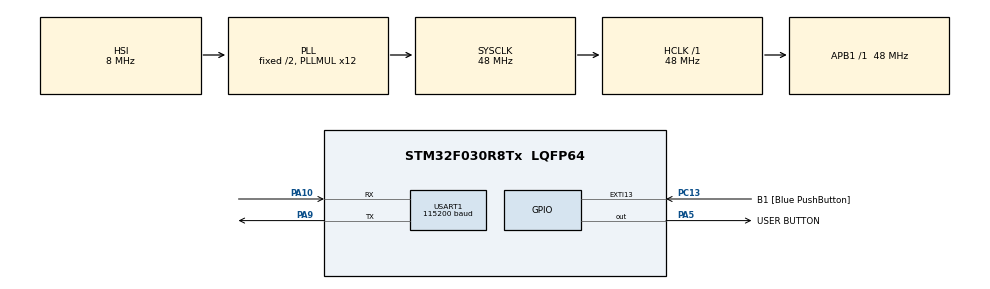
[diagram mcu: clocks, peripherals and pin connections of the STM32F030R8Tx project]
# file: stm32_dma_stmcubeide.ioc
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Dma.Request0=USART1_RX
Dma.Request1=USART1_TX
Dma.USART1_RX.0.Direction=DMA_PERIPH_TO_MEMORY
Dma.USART1_RX.0.Instance=DMA1_Channel3
Dma.USART1_RX.0.MemDataAlignment=DMA_MDATAALIGN_BYTE
Dma.USART1_RX.0.MemInc=DMA_MINC_ENABLE
Dma.USART1_RX.0.Mode=DMA_CIRCULAR
Dma.USART1_RX.0.PeriphDataAlignment=DMA_PDATAALIGN_BYTE
Dma.USART1_RX.0.PeriphInc=DMA_PINC_DISABLE
Dma.USART1_RX.0.Priority=DMA_PRIORITY_LOW
Dma.USART1_TX.1.Direction=DMA_MEMORY_TO_PERIPH
Dma.USART1_TX.1.Instance=DMA1_Channel2
Dma.USART1_TX.1.MemDataAlignment=DMA_MDATAALIGN_BYTE
Dma.USART1_TX.1.MemInc=DMA_MINC_ENABLE
Dma.USART1_TX.1.Mode=DMA_CIRCULAR
Dma.USART1_TX.1.PeriphDataAlignment=DMA_PDATAALIGN_BYTE
Dma.USART1_TX.1.PeriphInc=DMA_PINC_DISABLE
Dma.USART1_TX.1.Priority=DMA_PRIORITY_LOW
Mcu.Family=STM32F0
Mcu.Name=STM32F030R8Tx
Mcu.Package=LQFP64
NVIC.DMA1_Channel2_3_IRQn=true\:0\:0\:false\:false\:true\:false\:true\:true
NVIC.USART1_IRQn=true\:0\:0\:false\:false\:true\:true\:true\:true
PA10.Mode=Asynchronous
PA10.Signal=USART1_RX
PA13.GPIO_Label=TMS
PA13.Mode=Serial_Wire
PA13.Signal=SYS_SWDIO
PA14.GPIO_Label=TCK
PA14.Mode=Serial_Wire
PA14.Signal=SYS_SWCLK
PA5.GPIO_Label=USER BUTTON
PA5.Signal=GPIO_Output
PA9.Mode=Asynchronous
PA9.Signal=USART1_TX
PC13.GPIO_Label=B1 [Blue PushButton]
PC13.GPIO_ModeDefaultEXTI=GPIO_MODE_IT_FALLING
PC13.Signal=GPXTI13
PC14-OSC32_IN.Signal=RCC_OSC32_IN
PC15-OSC32_OUT.Signal=RCC_OSC32_OUT
PF0-OSC_IN.Signal=RCC_OSC_IN
PF1-OSC_OUT.Signal=RCC_OSC_OUT
ProjectManager.HeapSize=0x200
ProjectManager.StackSize=0x400
ProjectManager.TargetToolchain=STM32CubeIDE
RCC.AHBFreq_Value=48000000
RCC.APB1Freq_Value=48000000
RCC.APB1TimFreq_Value=48000000
RCC.HCLKFreq_Value=48000000
RCC.PLLMUL=RCC_PLL_MUL12
RCC.SYSCLKFreq_VALUE=48000000
RCC.SYSCLKSource=RCC_SYSCLKSOURCE_PLLCLK
USART1.BaudRate=115200
USART1.VirtualMode-Asynchronous=VM_ASYNC
board=NUCLEO-F030R8

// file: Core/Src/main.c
/* USER CODE BEGIN Header */
/**
  ******************************************************************************
  * @file           : main.c
  * @brief          : Main program body
  ******************************************************************************
  * @attention
  *
  * Copyright (c) 2025 STMicroelectronics.
  * All rights reserved.
  *
  * This software is licensed under terms that can be found in the LICENSE file
  * in the root directory of this software component.
  * If no LICENSE file comes with this software, it is provided AS-IS.
  *
  ******************************************************************************
  */
/* USER CODE END Header */
#include "main.h"
#include <string.h>
#include <stdio.h>

 UART_HandleTypeDef huart1;
DMA_HandleTypeDef hdma_usart1_rx;
DMA_HandleTypeDef hdma_usart1_tx;

/* USER CODE BEGIN PV */
// Circular buffer for DMA RX
uint8_t rx_buffer[RX_BUFFER_SIZE];
volatile uint16_t rx_head = 0;  // DMA write position
volatile uint16_t rx_tail = 0;  // Application read position

// Response tracking
volatile uint8_t response_ready = 0;
char response_buffer[MAX_RESPONSE_LEN];

// Flag to indicate if a TX DMA transfer is in progress.
volatile uint8_t tx_busy = 0;

// Timestamp for periodic AT command sending.
volatile uint32_t last_cmd = 0;
volatile uint16_t response_index = 0;  // Track position in response_buffer
volatile char last_sent_cmd[32] = {0};  // Track the last command sent

/* USER CODE END PV */

void SystemClock_Config(void);
static void MX_GPIO_Init(void);
static void MX_DMA_Init(void);
static void MX_USART1_UART_Init(void);
/* USER CODE BEGIN PFP */
void process_data_chunk(uint16_t start_pos, uint16_t length);

/* USER CODE END PFP */

int main(void)
{

  /* MCU Configuration--------------------------------------------------------*/

  /* Reset of all peripherals, Initializes the Flash interface and the Systick. */
  HAL_Init();

  /* Configure the system clock */
  SystemClock_Config();

  /* Initialize all configured peripherals */
  MX_GPIO_Init();
  MX_DMA_Init();
  MX_USART1_UART_Init();
  /* USER CODE BEGIN 2 */
  // Start continuous DMA reception into our circular buffer
  if (HAL_UART_Receive_DMA(&huart1, rx_buffer, RX_BUFFER_SIZE) != HAL_OK)
  {
      Error_Handler();
  }
  // Enable the UART Idle Line detection interrupt
  __HAL_UART_ENABLE_IT(&huart1, UART_IT_IDLE);

  /* USER CODE END 2 */

  /* Infinite loop */
  /* USER CODE BEGIN WHILE */
  /* Infinite loop */
  while (1)
  {
	    // Send "AT" every 10 seconds only if TX is idle
		  // In main loop:
		  if (HAL_GetTick() - last_cmd >= 10000 && !tx_busy)
		  {
			  strncpy((char*)last_sent_cmd, "AT\r\n", sizeof(last_sent_cmd));  // Save last command
			  if (HAL_UART_Transmit_DMA(&huart1, (uint8_t*)"AT\r\n", 4) == HAL_OK)
			  {
				  tx_busy = 1;
				  last_cmd = HAL_GetTick();
				  HAL_GPIO_TogglePin(GPIOA, GPIO_PIN_5);
			  }
		  }

	    // Echo received message if ready
		  // In main loop:
		  if (response_ready && !tx_busy)
		  {
		      if (strlen(response_buffer) > 0)
		      {
		          // Check if the response matches the last sent command
		          if (strstr(response_buffer, last_sent_cmd) == NULL)  // Only echo external data
		          {
		              char echo_msg[MAX_RESPONSE_LEN + 16];
		              snprintf(echo_msg, sizeof(echo_msg), "\r\n[RX] %s\r\n", response_buffer);
		              if (HAL_UART_Transmit_DMA(&huart1, (uint8_t*)echo_msg, strlen(echo_msg)) == HAL_OK)
		              {
		                  tx_busy = 1;
		              }
		          }
		          else
		          {
		              // Clear the last_sent_cmd after handling
		              memset((void*)last_sent_cmd, 0, sizeof(last_sent_cmd));
		          }
		      }
		      response_ready = 0;
		      response_index = 0;
		      memset(response_buffer, 0, MAX_RESPONSE_LEN);
		  }
    /* USER CODE END WHILE */

  }
}

void SystemClock_Config(void)
{
  RCC_OscInitTypeDef RCC_OscInitStruct = {0};
  RCC_ClkInitTypeDef RCC_ClkInitStruct = {0};
  RCC_PeriphCLKInitTypeDef PeriphClkInit = {0};

  /** Initializes the RCC Oscillators according to the specified parameters
  * in the RCC_OscInitTypeDef structure.
  */
  RCC_OscInitStruct.OscillatorType = RCC_OSCILLATORTYPE_HSI;
  RCC_OscInitStruct.HSIState = RCC_HSI_ON;
  RCC_OscInitStruct.HSICalibrationValue = RCC_HSICALIBRATION_DEFAULT;
  RCC_OscInitStruct.PLL.PLLState = RCC_PLL_ON;
  RCC_OscInitStruct.PLL.PLLSource = RCC_PLLSOURCE_HSI;
  RCC_OscInitStruct.PLL.PLLMUL = RCC_PLL_MUL12;
  RCC_OscInitStruct.PLL.PREDIV = RCC_PREDIV_DIV1;
  if (HAL_RCC_OscConfig(&RCC_OscInitStruct) != HAL_OK)
  {
    Error_Handler();
  }

  /** Initializes the CPU, AHB and APB buses clocks
  */
  RCC_ClkInitStruct.ClockType = RCC_CLOCKTYPE_HCLK|RCC_CLOCKTYPE_SYSCLK
                              |RCC_CLOCKTYPE_PCLK1;
  RCC_ClkInitStruct.SYSCLKSource = RCC_SYSCLKSOURCE_PLLCLK;
  RCC_ClkInitStruct.AHBCLKDivider = RCC_SYSCLK_DIV1;
  RCC_ClkInitStruct.APB1CLKDivider = RCC_HCLK_DIV1;

  if (HAL_RCC_ClockConfig(&RCC_ClkInitStruct, FLASH_LATENCY_1) != HAL_OK)
  {
    Error_Handler();
  }
  PeriphClkInit.PeriphClockSelection = RCC_PERIPHCLK_USART1;
  PeriphClkInit.Usart1ClockSelection = RCC_USART1CLKSOURCE_PCLK1;
  if (HAL_RCCEx_PeriphCLKConfig(&PeriphClkInit) != HAL_OK)
  {
    Error_Handler();
  }
}

static void MX_USART1_UART_Init(void)
{

  huart1.Instance = USART1;
  huart1.Init.BaudRate = 115200;
  huart1.Init.WordLength = UART_WORDLENGTH_8B;
  huart1.Init.StopBits = UART_STOPBITS_1;
  huart1.Init.Parity = UART_PARITY_NONE;
  huart1.Init.Mode = UART_MODE_TX_RX;
  huart1.Init.HwFlowCtl = UART_HWCONTROL_NONE;
  huart1.Init.OverSampling = UART_OVERSAMPLING_16;
  huart1.Init.OneBitSampling = UART_ONE_BIT_SAMPLE_DISABLE;
  huart1.AdvancedInit.AdvFeatureInit = UART_ADVFEATURE_NO_INIT;
  if (HAL_UART_Init(&huart1) != HAL_OK)
  {
    Error_Handler();
  }

}

static void MX_DMA_Init(void)
{

  /* DMA controller clock enable */
  __HAL_RCC_DMA1_CLK_ENABLE();

  /* DMA interrupt init */
  /* DMA1_Channel2_3_IRQn interrupt configuration */
  HAL_NVIC_SetPriority(DMA1_Channel2_3_IRQn, 0, 0);
  HAL_NVIC_EnableIRQ(DMA1_Channel2_3_IRQn);

}

static void MX_GPIO_Init(void)
{
  GPIO_InitTypeDef GPIO_InitStruct = {0};

  /* GPIO Ports Clock Enable */
  __HAL_RCC_GPIOC_CLK_ENABLE();
  __HAL_RCC_GPIOF_CLK_ENABLE();
  __HAL_RCC_GPIOA_CLK_ENABLE();

  /*Configure GPIO pin Output Level */
  HAL_GPIO_WritePin(USER_BUTTON_GPIO_Port, USER_BUTTON_Pin, GPIO_PIN_RESET);

  /*Configure GPIO pin : B1_Pin */
  GPIO_InitStruct.Pin = B1_Pin;
  GPIO_InitStruct.Mode = GPIO_MODE_IT_FALLING;
  GPIO_InitStruct.Pull = GPIO_NOPULL;
  HAL_GPIO_Init(B1_GPIO_Port, &GPIO_InitStruct);

  /*Configure GPIO pin : USER_BUTTON_Pin */
  GPIO_InitStruct.Pin = USER_BUTTON_Pin;
  GPIO_InitStruct.Mode = GPIO_MODE_OUTPUT_PP;
  GPIO_InitStruct.Pull = GPIO_NOPULL;
  GPIO_InitStruct.Speed = GPIO_SPEED_FREQ_LOW;
  HAL_GPIO_Init(USER_BUTTON_GPIO_Port, &GPIO_InitStruct);

}

/* USER CODE BEGIN 4 */
/**
  * @brief Process a chunk of data from the circular DMA buffer.
  *        Scans for a "\r\n" sequence to mark the end of a complete message.
  * @param start_pos: The starting index in rx_buffer.
  * @param length: The number of bytes to process.
  * @retval None
  */
void process_data_chunk(uint16_t start_pos, uint16_t length)
{
    for (uint16_t i = 0; i < length; i++)
    {
        uint16_t pos = (start_pos + i) % RX_BUFFER_SIZE;
        char c = rx_buffer[pos];

        // Check for buffer overflow
        if (response_index >= MAX_RESPONSE_LEN - 1)
        {
            response_index = 0; // Reset to avoid overflow
            memset(response_buffer, 0, MAX_RESPONSE_LEN);
            response_ready = 0;
        }

        // Store character
        response_buffer[response_index] = c;
        response_index++;

        // Check for "\r\n" in the last two bytes
        if (response_index >= 2 &&
            response_buffer[response_index - 2] == '\r' &&
            response_buffer[response_index - 1] == '\n')
        {
            response_buffer[response_index - 2] = '\0'; // Terminate at "\r"
            response_ready = 1;
            response_index = 0; // Reset for next message
            break; // Exit to avoid processing remnants
        }
    }
}

/**
  * @brief  This function is called when a TX DMA transfer is complete.
  * @param  huart: Pointer to the UART handle.
  * @retval None
  */
void HAL_UART_TxCpltCallback(UART_HandleTypeDef *huart)
{
  if(huart->Instance == USART1)
  {
    tx_busy = 0;
  }
}

/* USER CODE END 4 */

void Error_Handler(void)
{
  __disable_irq();
  while (1)
  {
  }
}
